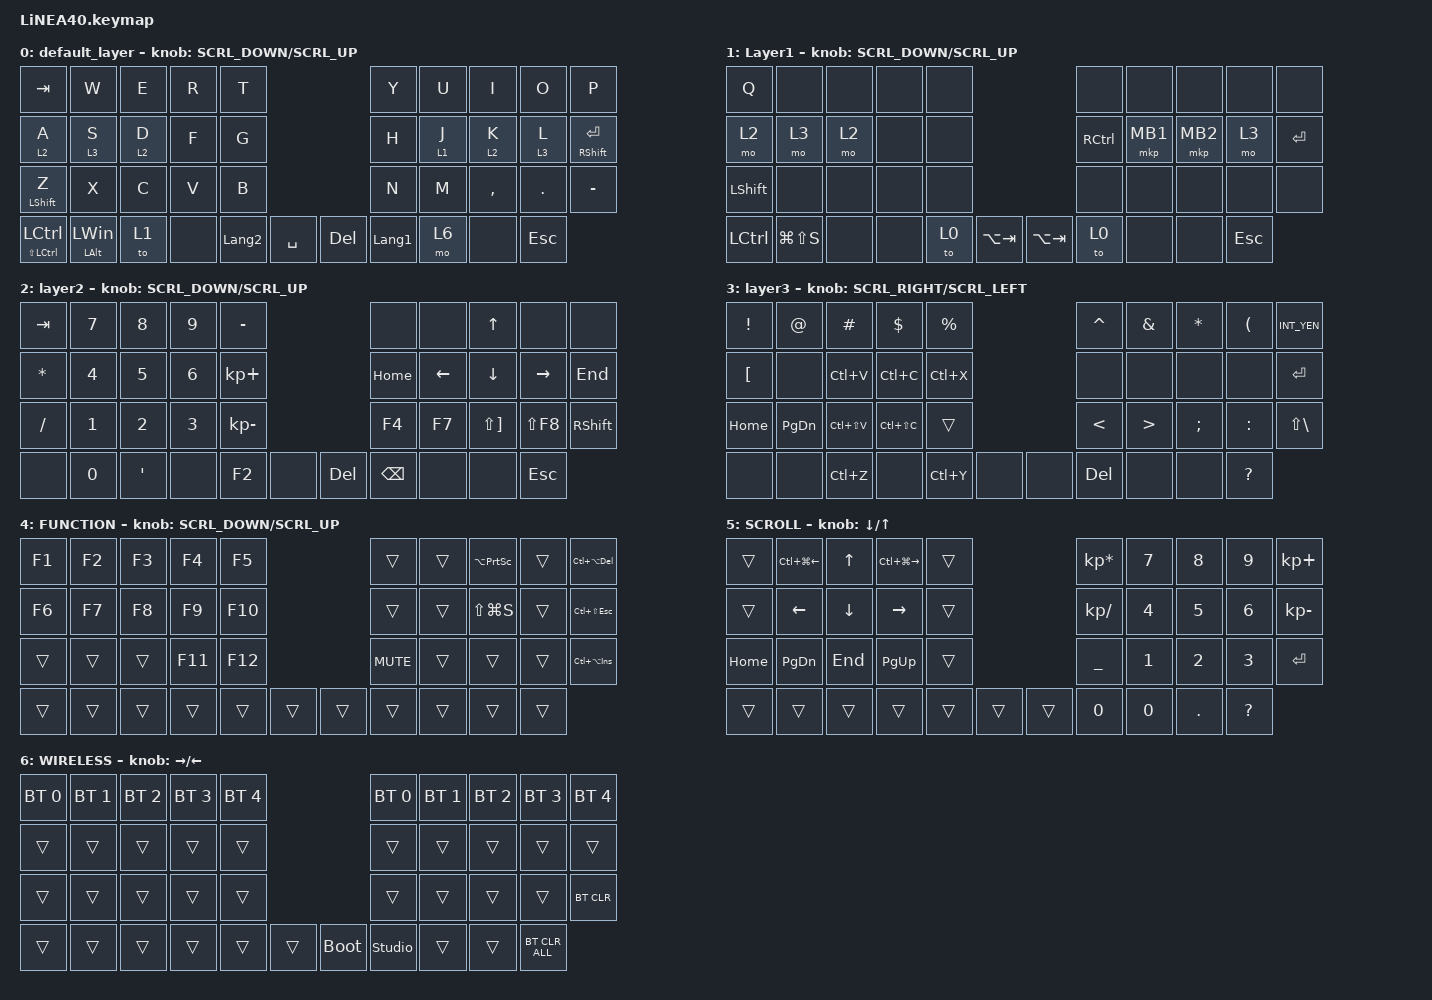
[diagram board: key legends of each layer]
#define ZMK_POINTING_DEFAULT_SCRL_VAL 150

#include <dt-bindings/zmk/input_transform.h>
#include <input/processors.dtsi>
#include <zephyr/dt-bindings/input/input-event-codes.h>
#include <behaviors.dtsi>
#include <dt-bindings/zmk/bt.h>
#include <dt-bindings/zmk/keys.h>
#include <dt-bindings/zmk/pointing.h>

#define MOUSE 1
#define MARK 2
#define CURSOR 3
#define FUNCTION 4
#define SCROLL 5
#define WIRELESS 6

//mouse cursol

&mmv {
    delay-ms = <20>;
    trigger-period-ms = <5>;
    time-to-max-speed-ms = <100>;
    acceleration-exponent = <2>;
};

//mouse scroll

&msc {
    delay-ms = <3>;
    trigger-period-ms = <3>;
    time-to-max-speed-ms = <100>;
    acceleration-exponent = <0>;
};

/ {
    input_processors {
        zip_wheel_scaler: zip_wheel_scaler {
            compatible = "zmk,input-processor-scaler";
            #input-processor-cells = <2>;
            type = <INPUT_EV_REL>;
            codes = <INPUT_REL_WHEEL>;
            track-remainders;
        };
    };
};

&msc_input_listener {
    speed_up {
        layers = <FUNCTION>;
        input-processors = <&zip_wheel_scaler 3 1>; //スクロールを3倍速にする
    };
};

&trackball_listener {
    scroller {
        layers = <SCROLL>;
        input-processors =
            <&zip_xy_transform INPUT_TRANSFORM_Y_INVERT>,
            //スクロール方向を逆転,,,,,,,,,,,,,,,,,,,,,
            <&zip_xy_to_scroll_mapper>;
    };
};

/ {
    combos {
        compatible = "zmk,combos";

        ZenkakuHankaku {
            bindings = <&kp GRAVE>;
            key-positions = <11 12>;
        };

        DeleteKey {
            bindings = <&kp DEL>;
            key-positions = <7 8>;
        };

        InsertKey {
            bindings = <&kp INS>;
            key-positions = <6 7>;
        };

        CenterClick {
            bindings = <&mkp MB3>;
            key-positions = <17 16>;
        };

        RightClick {
            bindings = <&mkp MB2>;
            key-positions = <18 17>;
        };

        PrevClick {
            bindings = <&mkp MB4>;
            key-positions = <27 28>;
        };

        ClickNext {
            bindings = <&mkp MB5>;
            key-positions = <26 27>;
        };
    };

    behaviors {
        re_kp: sensor_rotate_kp {
            compatible = "zmk,behavior-sensor-rotate-var";
            #sensor-binding-cells = <2>;
            bindings = <&kp>, <&kp>;
        };

        mouse_scrl: mouse_wheel_scrl {
            compatible = "zmk,behavior-sensor-rotate-var";
            #sensor-binding-cells = <2>;
            bindings = <&msc>, <&msc>;

            tap-ms = <20>;
        };
    };

    keymap {
        compatible = "zmk,keymap";

        default_layer {
            bindings = <
&kp TAB              &kp W                  &kp E    &kp R  &kp T                                 &kp Y           &kp U    &kp I      &kp O    &kp P
&lt 2 A              &lt 3 S                &lt 2 D  &kp F  &kp G                                 &kp H           &lt 1 J  &lt 2 K    &lt 3 L  &mt RIGHT_SHIFT ENTER
&mt LEFT_SHIFT Z     &kp X                  &kp C    &kp V  &kp B                                 &kp N           &kp M    &kp COMMA  &kp DOT  &kp MINUS
&mt LS(LCTRL) LCTRL  &mt LEFT_ALT LEFT_WIN  &to 1    &none  &kp LANGUAGE_2  &kp SPACE    &kp DEL  &kp LANGUAGE_1           &mo 6      &none    &kp ESC
            >;

            sensor-bindings = <&mouse_scrl SCRL_DOWN SCRL_UP>;
        };

        //1

        Layer1 {
            bindings = <
&kp Q           &none          &none  &none  &none                              &none      &none     &none     &none  &none
&mo 2           &mo 3          &mo 2  &none  &none                              &kp RCTRL  &mkp MB1  &mkp MB2  &mo 3  &kp ENTER
&kp LEFT_SHIFT  &none          &none  &none  &none                              &none      &none     &none     &none  &none
&kp LCTRL       &kp LG(LS(S))  &none  &none  &to 0  &kp LA(TAB)    &kp LA(TAB)  &to 0                &none     &none  &kp ESC
            >;

            sensor-bindings = <&mouse_scrl SCRL_DOWN SCRL_UP>;
        };

        //2

        layer2 {
            bindings = <
&kp TAB    &kp N7        &kp N8        &kp N9        &kp MINUS                          &none          &none     &kp UP_ARROW           &none       &none
&kp ASTRK  &kp NUMBER_4  &kp N5        &kp NUMBER_6  &kp KP_PLUS                        &kp HOME       &kp LEFT  &kp DOWN               &kp RIGHT   &kp END
&kp SLASH  &kp NUMBER_1  &kp NUMBER_2  &kp NUMBER_3  &kp KP_MINUS                       &kp F4         &kp F7    &kp LS(RIGHT_BRACKET)  &kp LS(F8)  &kp RIGHT_SHIFT
&none      &kp N0        &kp SQT       &none         &kp F2        &none    &kp DELETE  &kp BACKSPACE            &none                  &none       &kp ESC
            >;

            sensor-bindings = <&mouse_scrl SCRL_DOWN SCRL_UP>;
        };

        //3

        layer3 {
            bindings = <
&kp EXCLAMATION  &kp AT         &kp HASH       &kp DOLLAR     &kp PERCENT                  &kp CARET      &kp AMPERSAND     &kp ASTERISK   &kp LEFT_PARENTHESIS  &kp INT_YEN
&kp LBKT         &none          &kp LC(V)      &kp LC(C)      &kp LC(X)                    &none          &none             &none          &none                 &kp ENTER
&kp HOME         &kp PAGE_DOWN  &kp LC(LS(V))  &kp LC(LS(C))  &trans                       &kp LESS_THAN  &kp GREATER_THAN  &kp SEMICOLON  &kp COLON             &kp LS(BSLH)
&none            &none          &kp LC(Z)      &none          &kp LC(Y)    &none    &none  &kp DELETE                       &none          &none                 &kp QUESTION
            >;

            sensor-bindings = <&mouse_scrl SCRL_RIGHT SCRL_LEFT>;
        };

        //4

        FUNCTION {
            bindings = <
&kp F1  &kp F2  &kp F3  &kp F4   &kp F5                     &trans      &trans  &kp LA(PRINTSCREEN)  &trans  &kp LC(LA(DELETE))
&kp F6  &kp F7  &kp F8  &kp F9   &kp F10                    &trans      &trans  &kp LS(LG(S))        &trans  &kp LC(LS(ESCAPE))
&trans  &trans  &trans  &kp F11  &kp F12                    &kp C_MUTE  &trans  &trans               &trans  &kp LC(LA(INS))
&trans  &trans  &trans  &trans   &trans   &trans    &trans  &trans              &trans               &trans  &trans
            >;

            sensor-bindings = <&mouse_scrl SCRL_DOWN SCRL_UP>;
        };

        //5

        SCROLL {
            bindings = <
&trans    &kp LC(LG(LEFT_ARROW))  &kp UP_ARROW  &kp LC(LG(RIGHT_ARROW))  &trans                    &kp KP_MULTIPLY  &kp NUMBER_7  &kp NUMBER_8  &kp NUMBER_9  &kp KP_PLUS
&trans    &kp LEFT_ARROW          &kp DOWN      &kp RIGHT_ARROW          &trans                    &kp KP_SLASH     &kp NUMBER_4  &kp NUMBER_5  &kp NUMBER_6  &kp KP_MINUS
&kp HOME  &kp PAGE_DOWN           &kp END       &kp PAGE_UP              &trans                    &kp UNDER        &kp NUMBER_1  &kp NUMBER_2  &kp NUMBER_3  &kp ENTER
&trans    &trans                  &trans        &trans                   &trans  &trans    &trans  &kp NUMBER_0                   &kp NUMBER_0  &kp DOT       &kp QUESTION
            >;

            sensor-bindings = <&inc_dec_kp DOWN_ARROW UP_ARROW>;
        };

        //6

        WIRELESS {
            bindings = <
&bt BT_SEL 0  &bt BT_SEL 1  &bt BT_SEL 2  &bt BT_SEL 3  &bt BT_SEL 4                         &bt BT_SEL 0    &bt BT_SEL 1  &bt BT_SEL 2  &bt BT_SEL 3  &bt BT_SEL 4
&trans        &trans        &trans        &trans        &trans                               &trans          &trans        &trans        &trans        &trans
&trans        &trans        &trans        &trans        &trans                               &trans          &trans        &trans        &trans        &bt BT_CLR
&trans        &trans        &trans        &trans        &trans        &trans    &bootloader  &studio_unlock                &trans        &trans        &bt BT_CLR_ALL
            >;

            sensor-bindings = <&inc_dec_kp RIGHT_ARROW LEFT_ARROW>;
        };
    };
};
